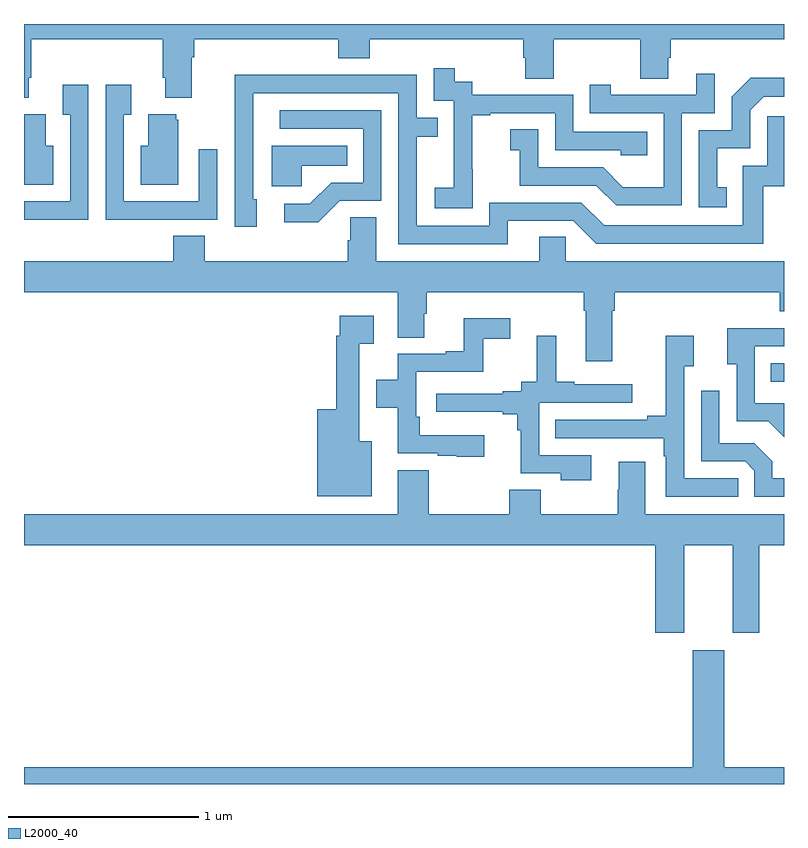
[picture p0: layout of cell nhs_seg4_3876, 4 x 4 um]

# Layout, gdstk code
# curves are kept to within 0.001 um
import gdstk
lib = gdstk.Library(unit=1e-6, precision=1e-09)
def R(c, l, rs):  # rectangles x0, y0, x1, y1
    for r in rs: c.add(gdstk.rectangle(r[:2], r[2:], *l))
def P(c, l, *ps):  # polygons
    for p in ps: c.add(gdstk.Polygon(p, *l))
L2000_40 = (2000, 40)

nhs_seg4_3876 = lib.new_cell('nhs_seg4_3876')
R(nhs_seg4_3876, L2000_40, [(318.931,795.018,319,795.114)])
P(nhs_seg4_3876, L2000_40, [(315,796.511),(315.025,796.511),(315.025,796.618),(315.038,796.618),(315.038,796.82),(315.731,796.82),(315.731,796.618),(315.743,796.618),(315.743,796.511),(315.883,796.511),(315.883,796.724),(315.896,796.724),(315.896,796.82),(316.655,796.82),(316.655,796.721),(316.82,796.721),(316.82,796.82),(317.627,796.82),(317.627,796.722),(317.639,796.722),(317.639,796.612),(317.787,796.612),(317.787,796.82),(318.244,796.82),(318.244,796.612),(318.391,796.612),(318.391,796.722),(318.404,796.722),(318.404,796.82),(319,796.82),(319,796.9),(315,796.9)],
  [(317.361,796.135),(317.36,796.135),(317.36,796.419),(317.455,796.419),(317.455,796.431),(317.796,796.431),(317.796,796.236),(318.141,796.236),(318.141,796.209),(318.281,796.209),(318.281,796.332),(317.892,796.332),(317.892,796.527),(317.358,796.527),(317.358,796.596),(317.266,796.596),(317.266,796.666),(317.157,796.666),(317.157,796.497),(317.262,796.497),(317.262,796.268),(317.261,796.268),(317.261,796.039),(317.163,796.039),(317.163,795.929),(317.361,795.929)],
  [(318.462,796.431),(318.636,796.431),(318.636,796.639),(318.539,796.639),(318.539,796.527),(318.088,796.527),(318.088,796.579),(317.977,796.579),(317.977,796.431),(318.366,796.431),(318.366,796.042),(318.152,796.042),(318.048,796.146),(317.706,796.146),(317.706,796.345),(317.559,796.345),(317.559,796.235),(317.608,796.235),(317.608,796.05),(318.011,796.05),(318.116,795.945),(318.462,795.945)],
  [(317.545,795.864),(317.892,795.864),(318.012,795.744),(318.892,795.744),(318.892,796.047),(319,796.047),(319,796.414),(318.912,796.414),(318.912,796.155),(318.783,796.155),(318.783,795.84),(318.054,795.84),(317.934,795.96),(317.448,795.96),(317.448,795.837),(317.067,795.837),(317.067,796.306),(317.177,796.306),(317.177,796.407),(317.067,796.407),(317.067,796.632),(316.571,796.632),(316.571,796.634),(316.108,796.634),(316.108,796.327),(316.11,796.327),(316.11,795.834),(316.225,795.834),(316.225,795.978),(316.206,795.978),(316.207,796.536),(316.971,796.536),(316.971,795.741),(317.545,795.741)],
  [(318.698,796.041),(318.649,796.041),(318.649,796.245),(318.822,796.245),(318.822,796.446),(318.894,796.518),(319,796.518),(319,796.616),(318.824,796.616),(318.726,796.518),(318.726,796.341),(318.552,796.341),(318.552,795.936),(318.698,795.936)],
  [(315.701,795.87),(316.017,795.87),(316.017,796.24),(315.921,796.24),(315.921,795.966),(315.525,795.966),(315.525,796.423),(315.565,796.423),(315.565,796.579),(315.429,796.579),(315.429,795.869),(315.701,795.869)],
  [(315.339,796.579),(315.203,796.579),(315.203,796.423),(315.243,796.423),(315.243,795.966),(315,795.966),(315,795.87),(315.067,795.87),(315.067,795.869),(315.339,795.869)],
  [(316.662,795.969),(316.881,795.969),(316.881,796.446),(316.347,796.446),(316.347,796.35),(316.785,796.35),(316.785,796.065),(316.616,796.065),(316.505,795.954),(316.371,795.954),(316.371,795.857),(316.549,795.857)],
  [(315.154,796.258),(315.115,796.258),(315.115,796.426),(315,796.426),(315,796.055),(315.154,796.055)],
  [(315.811,796.395),(315.8,796.395),(315.8,796.426),(315.653,796.426),(315.653,796.258),(315.614,796.258),(315.614,796.055),(315.811,796.055)],
  [(316.461,796.154),(316.7,796.154),(316.7,796.258),(316.304,796.258),(316.304,796.046),(316.461,796.046)],
  [(317.85,795.779),(317.711,795.779),(317.711,795.652),(316.855,795.652),(316.855,795.884),(316.716,795.884),(316.716,795.761),(316.703,795.761),(316.703,795.652),(315.95,795.652),(315.95,795.785),(315.785,795.785),(315.785,795.652),(315,795.652),(315,795.488),(316.967,795.488),(316.967,795.25),(317.107,795.25),(317.107,795.375),(317.12,795.375),(317.12,795.488),(317.945,795.488),(317.945,795.392),(317.957,795.392),(317.957,795.126),(318.097,795.126),(318.097,795.392),(318.11,795.392),(318.11,795.488),(318.977,795.488),(318.977,795.389),(319,795.389),(319,795.652),(317.85,795.652)],
  [(316.831,794.704),(316.765,794.704),(316.765,795.218),(316.84,795.218),(316.84,795.364),(316.661,795.364),(316.661,795.26),(316.644,795.26),(316.644,794.872),(316.544,794.872),(316.544,794.414),(316.831,794.414)],
  [(317.422,794.736),(317.084,794.736),(317.084,794.833),(317.064,794.833),(317.064,795.069),(317.417,795.069),(317.417,795.243),(317.56,795.243),(317.56,795.352),(317.315,795.352),(317.315,795.178),(317.219,795.178),(317.219,795.165),(316.967,795.165),(316.967,795.028),(316.853,795.028),(316.853,794.881),(316.967,794.881),(316.967,794.64),(317.177,794.64),(317.177,794.628),(317.277,794.628),(317.277,794.623),(317.422,794.623)],
  [(319,794.904),(318.846,794.904),(318.846,795.204),(319,795.204),(319,795.3),(318.701,795.3),(318.701,795.11),(318.75,795.11),(318.75,794.808),(318.917,794.808),(319,794.725)],
  [(317.986,794.631),(317.712,794.631),(317.712,794.907),(318.202,794.907),(318.202,795.003),(317.896,795.003),(317.896,795.016),(317.8,795.016),(317.8,795.259),(317.698,795.259),(317.698,795.016),(317.616,795.016),(317.616,794.968),(317.519,794.968),(317.519,794.955),(317.169,794.955),(317.169,794.859),(317.519,794.859),(317.519,794.847),(317.596,794.847),(317.596,794.762),(317.615,794.762),(317.615,794.535),(317.825,794.535),(317.825,794.498),(317.986,794.498)],
  [(318.758,794.508),(318.474,794.508),(318.474,795.098),(318.526,795.098),(318.526,795.259),(318.377,795.259),(318.377,794.837),(318.281,794.837),(318.281,794.817),(317.797,794.817),(317.797,794.721),(318.366,794.721),(318.366,794.624),(318.378,794.624),(318.378,794.412),(318.758,794.412)],
  [(319,794.508),(318.939,794.508),(318.939,794.598),(318.843,794.694),(318.66,794.694),(318.66,794.971),(318.564,794.971),(318.564,794.598),(318.795,794.598),(318.843,794.55),(318.843,794.412),(319,794.412)],
  [(318.475,794.156),(318.731,794.156),(318.731,793.695),(318.871,793.695),(318.871,794.156),(319,794.156),(319,794.32),(318.271,794.32),(318.271,794.596),(318.131,794.596),(318.131,794.45),(318.124,794.45),(318.124,794.32),(317.719,794.32),(317.719,794.45),(317.555,794.45),(317.555,794.32),(317.131,794.32),(317.131,794.551),(316.967,794.551),(316.967,794.32),(315,794.32),(315,794.156),(318.323,794.156),(318.323,793.695),(318.475,793.695)],
  [(319,792.988),(318.685,792.988),(318.685,793.603),(318.521,793.603),(318.521,792.988),(315,792.988),(315,792.9),(319,792.9)])

lib.write_gds('nhs_seg4_3876.gds')
